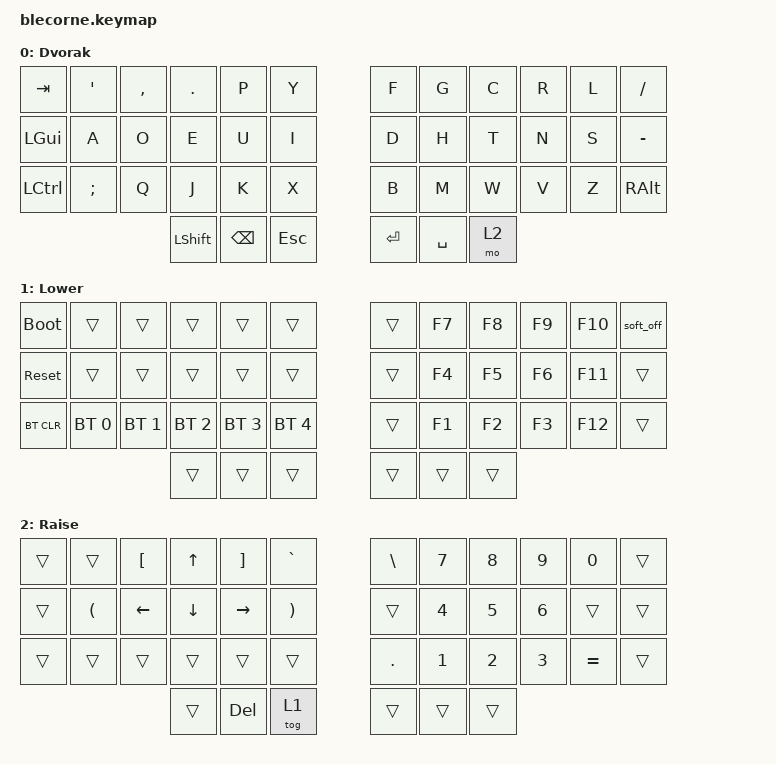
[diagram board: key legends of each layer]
/*
 * Copyright (c) 2020 The ZMK Contributors
 * SPDX-License-Identifier: MIT
 */

#include <behaviors.dtsi>
#include <dt-bindings/zmk/keys.h>
#include <dt-bindings/zmk/bt.h>

/ {
    chosen {
        zmk,physical-layout = &foostan_corne_6col_layout;
        // zmk,physical-layout = &foostan_corne_5col_layout;
    };
};

/ {
    keymap {
        compatible = "zmk,keymap";

        default_layer {
            display-name = "Dvorak";
            bindings = <
&kp TAB    &kp SQT        &kp COMMA  &kp PERIOD  &kp P          &kp Y      &kp F    &kp G      &kp C  &kp R  &kp L  &kp SLASH
&kp LGUI   &kp A          &kp O      &kp E       &kp U          &kp I      &kp D    &kp H      &kp T  &kp N  &kp S  &kp MINUS
&kp LCTRL  &kp SEMICOLON  &kp Q      &kp J       &kp K          &kp X      &kp B    &kp M      &kp W  &kp V  &kp Z  &kp RIGHT_ALT
                                     &kp LSHIFT  &kp BACKSPACE  &kp ESC    &kp RET  &kp SPACE  &mo 2
            >;
        };

        lower_layer {
            display-name = "Lower";
            bindings = <
&bootloader  &trans        &trans        &trans        &trans        &trans          &trans  &kp F7  &kp F8  &kp F9  &kp F10  &soft_off
&sys_reset   &trans        &trans        &trans        &trans        &trans          &trans  &kp F4  &kp F5  &kp F6  &kp F11  &trans
&bt BT_CLR   &bt BT_SEL 0  &bt BT_SEL 1  &bt BT_SEL 2  &bt BT_SEL 3  &bt BT_SEL 4    &trans  &kp F1  &kp F2  &kp F3  &kp F12  &trans
                                         &trans        &trans        &trans          &trans  &trans  &trans
            >;
        };

        raise_layer {
            display-name = "Raise";
            bindings = <
&trans  &trans    &kp LBKT  &kp UP    &kp RBKT   &kp GRAVE    &kp BSLH    &kp N7  &kp N8  &kp N9  &kp N0     &trans
&trans  &kp LPAR  &kp LEFT  &kp DOWN  &kp RIGHT  &kp RPAR     &trans      &kp N4  &kp N5  &kp N6  &trans     &trans
&trans  &trans    &trans    &trans    &trans     &trans       &kp PERIOD  &kp N1  &kp N2  &kp N3  &kp EQUAL  &trans
                            &trans    &kp DEL    &tog 1       &trans      &trans  &trans
            >;
        };
    };
};
